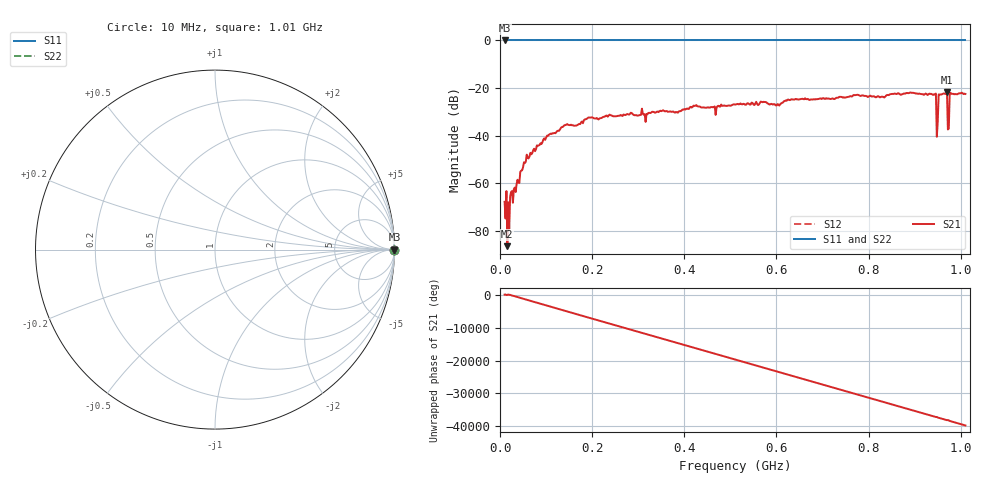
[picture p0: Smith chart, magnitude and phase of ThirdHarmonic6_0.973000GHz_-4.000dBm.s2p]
! 8/16/2025 7:24:31 AM
! C:\ANRITSUVNA\TEMP\TEMP.S2P
! CHANNEL.1
! TR.MEASUREMENT
! RAW.DATA
! RF.CORRECTION.OFF
! AVERAGING.OFF
! IF.BANDWIDTH: 5KHZ
! SWEEPTYPE:  FREQ.SWEEP(Linear)
! Reference Plane Port Info
! PORT:  PORT1  PORT2
! DISTANCE:  0  m  0  m
! TIME:  0  s  0  s
! PHASE.OFFSET:  0  deg.  0  deg.
! LOSS:  0  dB  0  dB
! REF.LOSS:  0  dB  0  dB
! REF.FREQ:  0  Hz  0  Hz
! Power Info
! POWER:  -20  dBm  -20  dBm
! EFF.POWER:  -20  dBm  -20  dBm
! SOURCE.ATTEN:  0  dB  0  dB
! TEST.ATTEN:  0  dB  0  dB
# GHZ S RI R 50.0
! FREQ.GHZ  S11RE  S11IM  S21RE  S21IM  S12RE  S12IM  S22RE  S22IM
!; PortSelection: Port_12
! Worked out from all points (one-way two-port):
!   501 points, 10 MHz to 1.01 GHz, reference 50 ohm
!   highest |S21| = -21.57 dB at 970 MHz (marker M1); lowest = -86.4 dB at 16 MHz (marker M2)
!   lowest |S11| = 0.0 dB at 10 MHz (marker M3)
!   |S11| at or under -10 dB: nowhere
!   |S22| runs from 0.0 to 0.0 dB; largest |S21 - S12| = 1.1
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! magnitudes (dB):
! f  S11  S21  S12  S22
! 10 MHz  0.0  -67.7  0.0  0.0
! 16 MHz  0.0  -86.4  0.0  0.0
! 24 MHz  0.0  -63.6  0.0  0.0
! 26 MHz  0.0  -63.2  0.0  0.0
! 62 MHz  0.0  -49.5  0.0  0.0
! 106 MHz  0.0  -39.6  0.0  0.0
! 142 MHz  0.0  -35.5  0.0  0.0
! 178 MHz  0.0  -34.0  0.0  0.0
! 196 MHz  0.0  -32.4  0.0  0.0
! 344 MHz  0.0  -30.1  0.0  0.0
! 510 MHz  0.0  -26.9  0.0  0.0
! 678 MHz  0.0  -24.8  0.0  0.0
! 844 MHz  0.0  -22.9  0.0  0.0
! 942 MHz  0.0  -22.6  0.0  0.0
! 946 MHz  0.0  -22.3  0.0  0.0
! 952 MHz  0.0  -22.7  0.0  0.0
! 956 MHz  0.0  -22.7  0.0  0.0
! 966 MHz  0.0  -22.4  0.0  0.0
! 970 MHz  0.0  -21.6  0.0  0.0
! 976 MHz  0.0  -22.0  0.0  0.0
! 980 MHz  0.0  -22.4  0.0  0.0
! 1.01 GHz  0.0  -22.5  0.0  0.0
